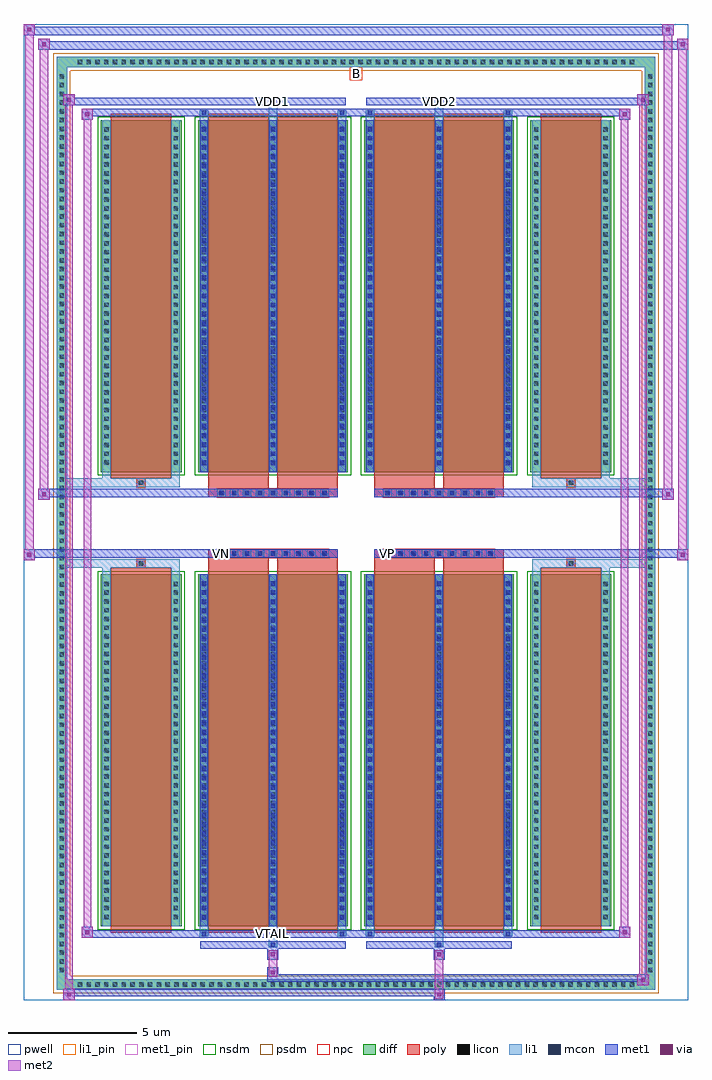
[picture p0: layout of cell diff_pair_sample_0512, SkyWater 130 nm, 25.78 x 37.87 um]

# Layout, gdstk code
import gdstk
lib = gdstk.Library(unit=1e-6, precision=5e-09)
def R(c, l, rs):  # rectangles x0, y0, x1, y1
    for r in rs: c.add(gdstk.rectangle(r[:2], r[2:], *l))
def A(c, l, x, y, w, h, nx, ny, dx, dy):  # array of equal rectangles
    R(c, l, [(x+i*dx, y+j*dy, x+i*dx+w, y+j*dy+h) for i in range(nx) for j in range(ny)])
def P(c, l, *ps):  # polygons
    for p in ps: c.add(gdstk.Polygon(p, *l))
pwell = (64, 44)
diff = (65, 20)
poly = (66, 20)
licon = (66, 44)
li1_pin = (67, 16)
li1 = (67, 20)
mcon = (67, 44)
met1_pin = (68, 16)
met1 = (68, 20)
via = (68, 44)
met2 = (69, 20)
nsdm = (93, 44)
psdm = (94, 20)
npc = (95, 20)

diff_pair_sample_0512 = lib.new_cell('diff_pair_sample_0512')
R(diff_pair_sample_0512, pwell, [(-12.89,-18.5,12.89,19.37), (-10.21,-16.69,-0.01,-0.805), (0.01,-16.69,10.21,-0.805), (-10.21,0.805,-0.01,16.69), (0.01,0.805,10.21,16.69)])
A(diff_pair_sample_0512, diff, -10.915, -18.1, 0.41, 0.41, 64, 2, 0.34, 35.79)
A(diff_pair_sample_0512, diff, -11.62, -17.545, 0.41, 0.41, 1, 103, 0, 0.34)
A(diff_pair_sample_0512, diff, 11.21, -17.545, 0.41, 0.41, 1, 103, 0, 0.34)
R(diff_pair_sample_0512, diff, [(-10.915,-18.1,10.915,-17.69), (-11.62,-17.545,-11.21,17.545), (11.21,-17.545,11.62,17.545), (-9.9,-15.645,-6.77,-1.985), (-6.13,-15.645,-0.32,-1.985), (0.32,-15.645,6.13,-1.985), (6.77,-15.645,9.9,-1.985), (-9.9,1.985,-6.77,15.645), (-6.13,1.985,-0.32,15.645), (0.32,1.985,6.13,15.645), (6.77,1.985,9.9,15.645), (-10.915,17.69,10.915,18.1)])
P(diff_pair_sample_0512, diff, [(11.62,18.1),(-11.62,18.1),(-11.62,-17.69),(-11.21,-17.69),(-11.21,17.69),(11.21,17.69),(11.21,-17.69),(-11.21,-17.69),(-11.62,-17.69),(-11.62,-18.1),(11.62,-18.1)])
A(diff_pair_sample_0512, poly, -5.39, -1.335, 0.33, 0.33, 9, 2, 0.5, 2.34)
A(diff_pair_sample_0512, poly, 1.06, -1.335, 0.33, 0.33, 9, 2, 0.5, 2.34)
R(diff_pair_sample_0512, poly, [(-9.51,-15.895,-7.16,-1.735), (-5.74,-15.895,-3.39,-1.735), (-3.06,-15.895,-0.71,-1.735), (0.71,-15.895,3.06,-1.735), (3.39,-15.895,5.74,-1.735), (7.16,-15.895,9.51,-1.735), (-8.5,-1.735,-8.17,-1.405), (-8.5,-1.735,-8.17,-1.405), (-5.74,-1.735,-3.39,-1.335), (-3.06,-1.735,-0.71,-1.335), (0.71,-1.735,3.06,-1.335), (3.39,-1.735,5.74,-1.335), (8.17,-1.735,8.5,-1.405), (8.17,-1.735,8.5,-1.405), (-5.74,-1.335,-0.71,-1.005), (0.71,-1.335,5.74,-1.005), (-5.74,1.005,-0.71,1.335), (0.71,1.005,5.74,1.335), (-5.74,1.335,-3.39,1.735), (-3.06,1.335,-0.71,1.735), (0.71,1.335,3.06,1.735), (3.39,1.335,5.74,1.735), (-8.5,1.405,-8.17,1.735), (-8.5,1.405,-8.17,1.735), (8.17,1.405,8.5,1.735), (8.17,1.405,8.5,1.735), (-9.51,1.735,-7.16,15.895), (-5.74,1.735,-3.39,15.895), (-3.06,1.735,-0.71,15.895), (0.71,1.735,3.06,15.895), (3.39,1.735,5.74,15.895), (7.16,1.735,9.51,15.895)])
A(diff_pair_sample_0512, licon, -10.795, -17.98, 0.17, 0.17, 64, 2, 0.34, 35.79)
A(diff_pair_sample_0512, licon, -11.5, -17.425, 0.17, 0.17, 1, 103, 0, 0.34)
A(diff_pair_sample_0512, licon, 11.33, -17.425, 0.17, 0.17, 1, 103, 0, 0.34)
A(diff_pair_sample_0512, licon, -9.76, -15.36, 0.17, 0.17, 1, 39, 0, 0.34)
A(diff_pair_sample_0512, licon, -7.08, -15.36, 0.17, 0.17, 1, 39, 0, 0.34)
A(diff_pair_sample_0512, licon, -5.99, -15.36, 0.17, 0.17, 3, 39, 2.68, 0.34)
A(diff_pair_sample_0512, licon, 0.46, -15.36, 0.17, 0.17, 3, 39, 2.68, 0.34)
A(diff_pair_sample_0512, licon, 6.91, -15.36, 0.17, 0.17, 1, 39, 0, 0.34)
A(diff_pair_sample_0512, licon, 9.59, -15.36, 0.17, 0.17, 1, 39, 0, 0.34)
A(diff_pair_sample_0512, licon, -5.31, -1.255, 0.17, 0.17, 9, 2, 0.5, 2.34)
A(diff_pair_sample_0512, licon, 1.14, -1.255, 0.17, 0.17, 9, 2, 0.5, 2.34)
A(diff_pair_sample_0512, licon, -9.76, 2.27, 0.17, 0.17, 1, 39, 0, 0.34)
A(diff_pair_sample_0512, licon, -7.08, 2.27, 0.17, 0.17, 1, 39, 0, 0.34)
A(diff_pair_sample_0512, licon, -5.99, 2.27, 0.17, 0.17, 3, 39, 2.68, 0.34)
A(diff_pair_sample_0512, licon, 0.46, 2.27, 0.17, 0.17, 3, 39, 2.68, 0.34)
A(diff_pair_sample_0512, licon, 6.91, 2.27, 0.17, 0.17, 1, 39, 0, 0.34)
A(diff_pair_sample_0512, licon, 9.59, 2.27, 0.17, 0.17, 1, 39, 0, 0.34)
R(diff_pair_sample_0512, licon, [(-8.42,-1.655,-8.25,-1.485), (8.25,-1.655,8.42,-1.485), (-8.42,1.485,-8.25,1.655), (8.25,1.485,8.42,1.655)])
R(diff_pair_sample_0512, li1_pin, [(-0.25,17.19,0.25,17.69)])
A(diff_pair_sample_0512, li1, -10.875, -18.06, 0.33, 0.33, 64, 2, 0.34, 35.79)
A(diff_pair_sample_0512, li1, -11.58, -17.505, 0.33, 0.33, 1, 103, 0, 0.34)
A(diff_pair_sample_0512, li1, 11.25, -17.505, 0.33, 0.33, 1, 103, 0, 0.34)
A(diff_pair_sample_0512, li1, -6.07, -15.645, 0.33, 13.66, 3, 2, 2.68, 17.63)
A(diff_pair_sample_0512, li1, 0.38, -15.645, 0.33, 13.66, 3, 2, 2.68, 17.63)
A(diff_pair_sample_0512, li1, -9.84, -15.44, 0.33, 0.33, 1, 39, 0, 0.34)
A(diff_pair_sample_0512, li1, -7.16, -15.44, 0.33, 0.33, 1, 39, 0, 0.34)
A(diff_pair_sample_0512, li1, -6.07, -15.44, 0.33, 0.33, 3, 39, 2.68, 0.34)
A(diff_pair_sample_0512, li1, 0.38, -15.44, 0.33, 0.33, 3, 39, 2.68, 0.34)
A(diff_pair_sample_0512, li1, 6.83, -15.44, 0.33, 0.33, 1, 39, 0, 0.34)
A(diff_pair_sample_0512, li1, 9.51, -15.44, 0.33, 0.33, 1, 39, 0, 0.34)
A(diff_pair_sample_0512, li1, -5.99, -15.38, 0.17, 0.17, 3, 37, 2.68, 0.36)
A(diff_pair_sample_0512, li1, -5.99, -15.38, 0.17, 13.13, 3, 2, 2.68, 17.63)
A(diff_pair_sample_0512, li1, 0.46, -15.38, 0.17, 0.17, 3, 37, 2.68, 0.36)
A(diff_pair_sample_0512, li1, 0.46, -15.38, 0.17, 13.13, 3, 2, 2.68, 17.63)
A(diff_pair_sample_0512, li1, -5.39, -1.335, 0.33, 0.33, 9, 2, 0.5, 2.34)
A(diff_pair_sample_0512, li1, 1.06, -1.335, 0.33, 0.33, 9, 2, 0.5, 2.34)
A(diff_pair_sample_0512, li1, -9.84, 2.19, 0.33, 0.33, 1, 39, 0, 0.34)
A(diff_pair_sample_0512, li1, -7.16, 2.19, 0.33, 0.33, 1, 39, 0, 0.34)
A(diff_pair_sample_0512, li1, -6.07, 2.19, 0.33, 0.33, 3, 39, 2.68, 0.34)
A(diff_pair_sample_0512, li1, 0.38, 2.19, 0.33, 0.33, 3, 39, 2.68, 0.34)
A(diff_pair_sample_0512, li1, 6.83, 2.19, 0.33, 0.33, 1, 39, 0, 0.34)
A(diff_pair_sample_0512, li1, 9.51, 2.19, 0.33, 0.33, 1, 39, 0, 0.34)
A(diff_pair_sample_0512, li1, -5.99, 2.25, 0.17, 0.17, 3, 37, 2.68, 0.36)
A(diff_pair_sample_0512, li1, 0.46, 2.25, 0.17, 0.17, 3, 37, 2.68, 0.36)
R(diff_pair_sample_0512, li1, [(-11.62,-18.1,-11.21,-17.69), (-11.62,-18.1,-11.21,-17.69), (-11.21,-18.1,11.21,-17.69), (11.21,-18.1,11.62,-17.69), (11.21,-18.1,11.62,-17.69), (-11.62,-17.69,-11.21,17.69), (11.21,-17.69,11.62,17.69), (-3.39,-16.45,-3.06,-15.645), (-3.31,-16.45,-3.14,-16.28), (3.06,-16.45,3.39,-15.645), (3.14,-16.45,3.31,-16.28), (-6.07,-16.02,-5.74,-15.645), (-5.99,-16.02,-5.82,-15.85), (-0.71,-16.02,-0.38,-15.645), (-0.63,-16.02,-0.46,-15.85), (0.38,-16.02,0.71,-15.645), (0.46,-16.02,0.63,-15.85), (5.74,-16.02,6.07,-15.645), (5.82,-16.02,5.99,-15.85), (-9.84,-15.645,-9.51,-1.985), (-7.16,-15.645,-6.83,-1.985), (6.83,-15.645,7.16,-1.985), (9.51,-15.645,9.84,-1.985), (-9.84,-1.985,-9.51,-1.405), (-7.16,-1.985,-6.83,-1.405), (6.83,-1.985,7.16,-1.405), (9.51,-1.985,9.84,-1.405), (-11.62,-1.735,-8.5,-1.405), (-9.84,-1.735,-8.5,-1.405), (-8.5,-1.735,-8.17,-1.405), (-8.17,-1.735,-6.83,-1.405), (6.83,-1.735,8.17,-1.405), (8.17,-1.735,8.5,-1.405), (8.17,-1.735,11.62,-1.405), (8.5,-1.735,9.84,-1.405), (-11.62,1.405,-8.5,1.735), (-9.84,1.405,-8.5,1.735), (-9.84,1.405,-9.51,1.985), (-8.5,1.405,-8.17,1.735), (-8.17,1.405,-6.83,1.735), (-7.16,1.405,-6.83,1.985), (6.83,1.405,8.17,1.735), (6.83,1.405,7.16,1.985), (8.17,1.405,8.5,1.735), (8.17,1.405,11.62,1.735), (8.5,1.405,9.84,1.735), (9.51,1.405,9.84,1.985), (-9.84,1.985,-9.51,15.645), (-7.16,1.985,-6.83,15.645), (6.83,1.985,7.16,15.645), (9.51,1.985,9.84,15.645), (-6.07,15.645,-5.74,16.02), (-3.39,15.645,-3.06,16.45), (-0.71,15.645,-0.38,16.02), (0.38,15.645,0.71,16.02), (3.06,15.645,3.39,16.45), (5.74,15.645,6.07,16.02), (-5.99,15.85,-5.82,16.02), (-0.63,15.85,-0.46,16.02), (0.46,15.85,0.63,16.02), (5.82,15.85,5.99,16.02), (-3.31,16.28,-3.14,16.45), (3.14,16.28,3.31,16.45), (-11.62,17.69,-11.21,18.1), (-11.62,17.69,-11.21,18.1), (-11.21,17.69,11.21,18.1), (11.21,17.69,11.62,18.1), (11.21,17.69,11.62,18.1)])
A(diff_pair_sample_0512, mcon, -5.99, -15.38, 0.17, 0.17, 3, 37, 2.68, 0.36)
A(diff_pair_sample_0512, mcon, 0.46, -15.38, 0.17, 0.17, 3, 37, 2.68, 0.36)
A(diff_pair_sample_0512, mcon, -5.31, -1.255, 0.17, 0.17, 9, 2, 0.5, 2.34)
A(diff_pair_sample_0512, mcon, 1.14, -1.255, 0.17, 0.17, 9, 2, 0.5, 2.34)
A(diff_pair_sample_0512, mcon, -5.99, 2.25, 0.17, 0.17, 3, 37, 2.68, 0.36)
A(diff_pair_sample_0512, mcon, 0.46, 2.25, 0.17, 0.17, 3, 37, 2.68, 0.36)
R(diff_pair_sample_0512, mcon, [(-3.31,-16.45,-3.14,-16.28), (3.14,-16.45,3.31,-16.28), (-5.99,-16.02,-5.82,-15.85), (-0.63,-16.02,-0.46,-15.85), (0.46,-16.02,0.63,-15.85), (5.82,-16.02,5.99,-15.85), (-5.99,15.85,-5.82,16.02), (-0.63,15.85,-0.46,16.02), (0.46,15.85,0.63,16.02), (5.82,15.85,5.99,16.02), (-3.31,16.28,-3.14,16.45), (3.14,16.28,3.31,16.45)])
R(diff_pair_sample_0512, met1_pin, [(-3.36,-16.06,-3.09,-15.79), (-5.36,-1.295,-5.09,-1.025), (1.09,-1.295,1.36,-1.025), (-3.36,16.24,-3.09,16.51), (3.09,16.24,3.36,16.51)])
A(diff_pair_sample_0512, met1, -6.05, -15.645, 0.29, 13.66, 3, 2, 2.68, 17.63)
A(diff_pair_sample_0512, met1, 0.4, -15.645, 0.29, 13.66, 3, 2, 2.68, 17.63)
A(diff_pair_sample_0512, met1, -6.05, -15.44, 0.29, 0.29, 3, 37, 2.68, 0.36)
A(diff_pair_sample_0512, met1, 0.4, -15.44, 0.29, 0.29, 3, 37, 2.68, 0.36)
A(diff_pair_sample_0512, met1, -5.37, -1.315, 0.29, 0.29, 9, 2, 0.5, 2.34)
A(diff_pair_sample_0512, met1, 1.08, -1.315, 0.29, 0.29, 9, 2, 0.5, 2.34)
A(diff_pair_sample_0512, met1, -6.05, 2.19, 0.29, 0.29, 3, 37, 2.68, 0.36)
A(diff_pair_sample_0512, met1, 0.4, 2.19, 0.29, 0.29, 3, 37, 2.68, 0.36)
R(diff_pair_sample_0512, met1, [(-11.35,-18.5,-10.92,-18.07), (3.01,-18.5,3.44,-18.07), (-11.35,-18.36,3.44,-18.07), (10.92,-17.93,11.35,-17.5), (-3.44,-17.79,11.35,-17.5), (-3.44,-17.65,-3.01,-17.22), (-3.44,-16.94,-3.01,-16.51), (3.01,-16.94,3.44,-16.51), (-6.05,-16.51,-0.4,-16.22), (-3.37,-16.51,-3.08,-16.22), (0.4,-16.51,6.05,-16.22), (3.08,-16.51,3.37,-16.22), (-10.64,-16.08,-10.21,-15.65), (-10.64,-16.08,-6.05,-15.79), (-6.05,-16.08,-5.76,-15.79), (-6.05,-16.08,-0.4,-15.79), (-0.69,-16.08,-0.4,-15.79), (-0.4,-16.08,0.4,-15.79), (0.4,-16.08,0.69,-15.79), (0.4,-16.08,6.05,-15.79), (5.76,-16.08,6.05,-15.79), (6.05,-16.08,10.64,-15.79), (10.21,-16.08,10.64,-15.65), (-12.89,-1.435,-12.46,-1.005), (12.46,-1.435,12.89,-1.005), (-12.89,-1.335,-0.71,-1.005), (-5.74,-1.335,-0.71,-1.005), (0.71,-1.335,5.74,-1.005), (0.71,-1.335,12.89,-1.005), (-12.32,0.905,-11.89,1.335), (11.89,0.905,12.32,1.335), (-12.32,1.005,-5.74,1.335), (-5.74,1.005,-0.71,1.335), (0.71,1.005,5.74,1.335), (5.74,1.005,12.32,1.335), (-10.64,15.65,-10.21,16.08), (10.21,15.65,10.64,16.08), (-10.64,15.79,-6.05,16.08), (-6.05,15.79,-5.76,16.08), (-6.05,15.79,-0.4,16.08), (-0.69,15.79,-0.4,16.08), (-0.4,15.79,0.4,16.08), (0.4,15.79,0.69,16.08), (0.4,15.79,6.05,16.08), (5.76,15.79,6.05,16.08), (6.05,15.79,10.64,16.08), (-11.35,16.22,-10.92,16.65), (-11.35,16.22,-6.05,16.51), (-6.05,16.22,-0.4,16.51), (-3.37,16.22,-3.08,16.51), (0.4,16.22,6.05,16.51), (3.08,16.22,3.37,16.51), (6.05,16.22,11.35,16.51), (10.92,16.22,11.35,16.65), (-12.32,18.37,-11.89,18.8), (-12.32,18.37,-10.21,18.7), (-10.21,18.37,10.21,18.7), (10.21,18.37,12.89,18.7), (12.46,18.37,12.89,18.8), (-12.89,18.94,-12.46,19.37), (-12.89,18.94,-10.21,19.27), (-10.21,18.94,10.21,19.27), (10.21,18.94,12.32,19.27), (11.89,18.94,12.32,19.37)])
R(diff_pair_sample_0512, via, [(-11.21,-18.36,-11.06,-18.21), (3.15,-18.36,3.3,-18.21), (11.06,-17.79,11.21,-17.64), (-3.3,-17.51,-3.15,-17.36), (-3.3,-16.8,-3.15,-16.65), (3.15,-16.8,3.3,-16.65), (-10.5,-15.94,-10.35,-15.79), (10.35,-15.94,10.5,-15.79), (-12.75,-1.295,-12.6,-1.145), (12.6,-1.295,12.75,-1.145), (-12.18,1.045,-12.03,1.195), (12.03,1.045,12.18,1.195), (-10.5,15.79,-10.35,15.94), (10.35,15.79,10.5,15.94), (-11.21,16.36,-11.06,16.51), (11.06,16.36,11.21,16.51), (-12.18,18.51,-12.03,18.66), (12.6,18.51,12.75,18.66), (-12.75,19.08,-12.6,19.23), (12.03,19.08,12.18,19.23)])
R(diff_pair_sample_0512, met2, [(-11.35,-18.5,-10.92,-18.07), (-11.28,-18.5,-10.99,16.65), (-10.99,-18.5,-10.92,-18.07), (-11.3,-18.45,-10.97,-18.12), (3.06,-18.45,3.39,-18.12), (3.06,-18.12,3.39,-16.89), (10.92,-17.93,11.35,-17.5), (10.99,-17.93,11.28,16.65), (11.28,-17.93,11.35,-17.5), (10.97,-17.88,11.3,-17.55), (-3.39,-17.6,-3.06,-17.27), (-3.39,-17.27,-3.06,-16.89), (-3.39,-16.89,-3.06,-16.56), (3.06,-16.89,3.39,-16.56), (-10.64,-16.08,-10.21,-15.65), (-10.57,-16.08,-10.28,16.08), (-10.28,-16.08,-10.21,-15.65), (10.21,-16.08,10.64,-15.65), (10.28,-16.08,10.57,16.08), (10.57,-16.08,10.64,-15.65), (-10.59,-16.03,-10.26,-15.7), (10.26,-16.03,10.59,-15.7), (-12.89,-1.435,-12.46,-1.005), (-12.84,-1.435,-12.51,19.37), (-12.51,-1.435,-12.46,-1.005), (12.46,-1.435,12.89,-1.005), (12.51,-1.435,12.84,18.8), (12.84,-1.435,12.89,-1.005), (-12.84,-1.385,-12.51,-1.055), (12.51,-1.385,12.84,-1.055), (-12.32,0.905,-11.89,1.335), (-12.27,0.905,-11.94,18.8), (-11.94,0.905,-11.89,1.335), (11.89,0.905,12.32,1.335), (11.94,0.905,12.27,19.37), (12.27,0.905,12.32,1.335), (-12.27,0.955,-11.94,1.285), (11.94,0.955,12.27,1.285), (-10.64,15.65,-10.21,16.08), (-10.28,15.65,-10.21,16.08), (10.21,15.65,10.64,16.08), (10.57,15.65,10.64,16.08), (-10.59,15.7,-10.26,16.03), (10.26,15.7,10.59,16.03), (-11.35,16.22,-10.92,16.65), (-10.99,16.22,-10.92,16.65), (10.92,16.22,11.35,16.65), (11.28,16.22,11.35,16.65), (-11.3,16.27,-10.97,16.6), (10.97,16.27,11.3,16.6), (-12.32,18.37,-11.89,18.8), (-11.94,18.37,-11.89,18.8), (12.46,18.37,12.89,18.8), (12.84,18.37,12.89,18.8), (-12.27,18.42,-11.94,18.75), (12.51,18.42,12.84,18.75), (-12.89,18.94,-12.46,19.37), (-12.51,18.94,-12.46,19.37), (11.89,18.94,12.32,19.37), (12.27,18.94,12.32,19.37), (-12.84,18.99,-12.51,19.32), (11.94,18.99,12.27,19.32)])
R(diff_pair_sample_0512, nsdm, [(-10.03,-15.775,-6.64,-1.855), (-6.26,-15.775,-0.19,-1.855), (0.19,-15.775,6.26,-1.855), (6.64,-15.775,10.03,-1.855), (-10.03,1.855,-6.64,15.775), (-6.26,1.855,-0.19,15.775), (0.19,1.855,6.26,15.775), (6.64,1.855,10.03,15.775)])
P(diff_pair_sample_0512, psdm, [(11.75,18.23),(-11.75,18.23),(-11.75,-17.56),(-11.08,-17.56),(-11.08,17.56),(11.08,17.56),(11.08,-17.56),(-11.08,-17.56),(-11.75,-17.56),(-11.75,-18.23),(11.75,-18.23)])
A(diff_pair_sample_0512, npc, -5.41, -1.355, 0.37, 0.37, 9, 2, 0.5, 2.34)
A(diff_pair_sample_0512, npc, 1.04, -1.355, 0.37, 0.37, 9, 2, 0.5, 2.34)
R(diff_pair_sample_0512, npc, [(-8.52,-1.755,-8.15,-1.385), (8.15,-1.755,8.52,-1.385), (-5.41,-1.355,-4.54,-0.985), (-5.41,-1.355,-4.54,-0.985), (-4.91,-1.355,-4.04,-0.985), (-4.91,-1.355,-4.04,-0.985), (-4.41,-1.355,-3.54,-0.985), (-4.41,-1.355,-3.54,-0.985), (-3.91,-1.355,-3.04,-0.985), (-3.91,-1.355,-3.04,-0.985), (-3.41,-1.355,-2.54,-0.985), (-3.41,-1.355,-2.54,-0.985), (-2.91,-1.355,-2.04,-0.985), (-2.91,-1.355,-2.04,-0.985), (-2.41,-1.355,-1.54,-0.985), (-2.41,-1.355,-1.54,-0.985), (-1.91,-1.355,-1.04,-0.985), (-1.91,-1.355,-1.04,-0.985), (1.04,-1.355,1.91,-0.985), (1.04,-1.355,1.91,-0.985), (1.54,-1.355,2.41,-0.985), (1.54,-1.355,2.41,-0.985), (2.04,-1.355,2.91,-0.985), (2.04,-1.355,2.91,-0.985), (2.54,-1.355,3.41,-0.985), (2.54,-1.355,3.41,-0.985), (3.04,-1.355,3.91,-0.985), (3.04,-1.355,3.91,-0.985), (3.54,-1.355,4.41,-0.985), (3.54,-1.355,4.41,-0.985), (4.04,-1.355,4.91,-0.985), (4.04,-1.355,4.91,-0.985), (4.54,-1.355,5.41,-0.985), (4.54,-1.355,5.41,-0.985), (-5.41,0.985,-4.54,1.355), (-5.41,0.985,-4.54,1.355), (-4.91,0.985,-4.04,1.355), (-4.91,0.985,-4.04,1.355), (-4.41,0.985,-3.54,1.355), (-4.41,0.985,-3.54,1.355), (-3.91,0.985,-3.04,1.355), (-3.91,0.985,-3.04,1.355), (-3.41,0.985,-2.54,1.355), (-3.41,0.985,-2.54,1.355), (-2.91,0.985,-2.04,1.355), (-2.91,0.985,-2.04,1.355), (-2.41,0.985,-1.54,1.355), (-2.41,0.985,-1.54,1.355), (-1.91,0.985,-1.04,1.355), (-1.91,0.985,-1.04,1.355), (1.04,0.985,1.91,1.355), (1.04,0.985,1.91,1.355), (1.54,0.985,2.41,1.355), (1.54,0.985,2.41,1.355), (2.04,0.985,2.91,1.355), (2.04,0.985,2.91,1.355), (2.54,0.985,3.41,1.355), (2.54,0.985,3.41,1.355), (3.04,0.985,3.91,1.355), (3.04,0.985,3.91,1.355), (3.54,0.985,4.41,1.355), (3.54,0.985,4.41,1.355), (4.04,0.985,4.91,1.355), (4.04,0.985,4.91,1.355), (4.54,0.985,5.41,1.355), (4.54,0.985,5.41,1.355), (-8.52,1.385,-8.15,1.755), (8.15,1.385,8.52,1.755)])
diff_pair_sample_0512.add(gdstk.Label('VTAIL', (-3.225,-15.925), layer=68, texttype=5))
diff_pair_sample_0512.add(gdstk.Label('VN', (-5.225,-1.16), layer=68, texttype=5))
diff_pair_sample_0512.add(gdstk.Label('VP', (1.225,-1.16), layer=68, texttype=5))
diff_pair_sample_0512.add(gdstk.Label('B', (0,17.44), layer=67, texttype=5))
diff_pair_sample_0512.add(gdstk.Label('VDD2', (3.225,16.375), layer=68, texttype=5))
diff_pair_sample_0512.add(gdstk.Label('VDD1', (-3.225,16.375), layer=68, texttype=5))

lib.write_gds('diff_pair_sample_0512.gds')
